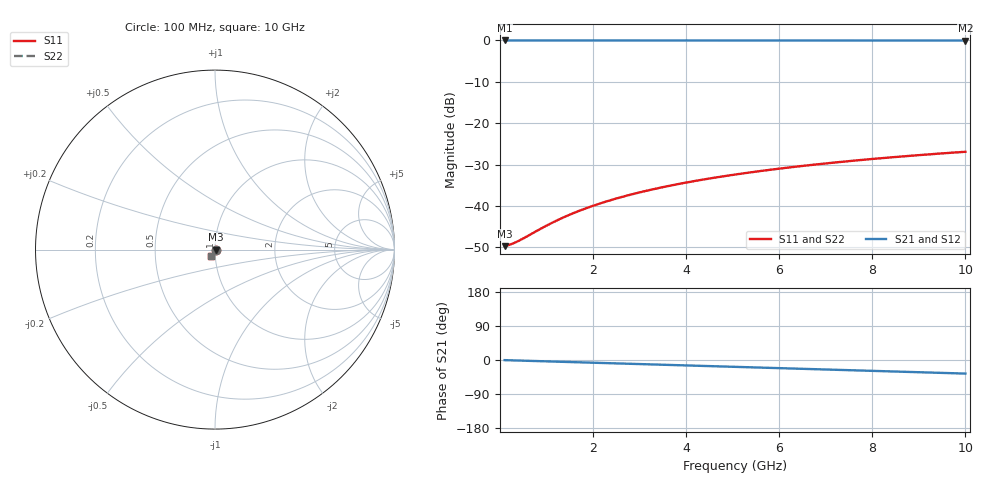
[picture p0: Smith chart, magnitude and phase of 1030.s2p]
# Hz S RI R 50.00
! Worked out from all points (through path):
!   100 points, 100 MHz to 10 GHz, reference 50 ohm
!   highest |S21| = -0.03 dB at 100 MHz (marker M1); lowest = 0.0 dB at 10 GHz (marker M2)
!   group delay of S21, straight-line fit = 9.96 ps
!   lowest |S11| = -49.7 dB at 100 MHz (marker M3), VSWR 1.01, Z = 50.3 - j0.0499 ohm
!   |S11| at or under -10 dB: start of sweep to end of sweep
!   |S22| runs from -49.7 to -26.9 dB; largest |S21 - S12| = 0
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1e8  0.00324 -0.000495  0.9967 -0.00622  0.9967 -0.00622  0.00324 -0.000495
2e8  0.00325 -0.000991  0.9966 -0.0124  0.9966 -0.0124  0.00325 -0.000991
3e8  0.00324 -0.00149  0.9965 -0.0186  0.9965 -0.0186  0.00324 -0.00149
5e8  0.00321 -0.00248  0.9962 -0.0311  0.9962 -0.0311  0.00321 -0.00248
9e8  0.00307 -0.00445  0.995 -0.0559  0.995 -0.0559  0.00307 -0.00445
1.2e9  0.00288 -0.00593  0.9938 -0.0745  0.9938 -0.0745  0.00288 -0.00593
1.5e9  0.00265 -0.0074  0.9922 -0.0931  0.9922 -0.0931  0.00265 -0.0074
1.8e9  0.00235 -0.00887  0.9902 -0.1117  0.9902 -0.1117  0.00235 -0.00887
2.1e9  0.00201 -0.0103  0.9879 -0.1302  0.9879 -0.1302  0.00201 -0.0103
2.5e9  0.00146 -0.0122  0.9843 -0.1548  0.9843 -0.1548  0.00146 -0.0122
2.9e9  0.000812 -0.0141  0.9801 -0.1793  0.9801 -0.1793  0.000812 -0.0141
3.4e9  -0.000125 -0.0164  0.9739 -0.2098  0.9739 -0.2098  -0.000125 -0.0164
3.8e9  -0.000976 -0.0182  0.9683 -0.2341  0.9683 -0.2341  -0.000976 -0.0182
4.2e9  -0.00192 -0.02  0.9621 -0.2582  0.9621 -0.2582  -0.00192 -0.02
4.6e9  -0.00294 -0.0217  0.9553 -0.2822  0.9553 -0.2822  -0.00294 -0.0217
5.1e9  -0.00435 -0.0238  0.9459 -0.3119  0.9459 -0.3119  -0.00435 -0.0238
5.9e9  -0.00685 -0.0269  0.929 -0.3588  0.929 -0.3588  -0.00685 -0.0269
6.7e9  -0.00966 -0.0298  0.9097 -0.4048  0.9097 -0.4048  -0.00966 -0.0298
7.5e9  -0.0127 -0.0324  0.8881 -0.4498  0.8881 -0.4498  -0.0127 -0.0324
8.4e9  -0.0165 -0.035  0.8611 -0.4991  0.8611 -0.4991  -0.0165 -0.035
9.2e9  -0.02 -0.0369  0.8348 -0.5416  0.8348 -0.5416  -0.02 -0.0369
1e10  -0.0238 -0.0384  0.8064 -0.5827  0.8064 -0.5827  -0.0238 -0.0384
